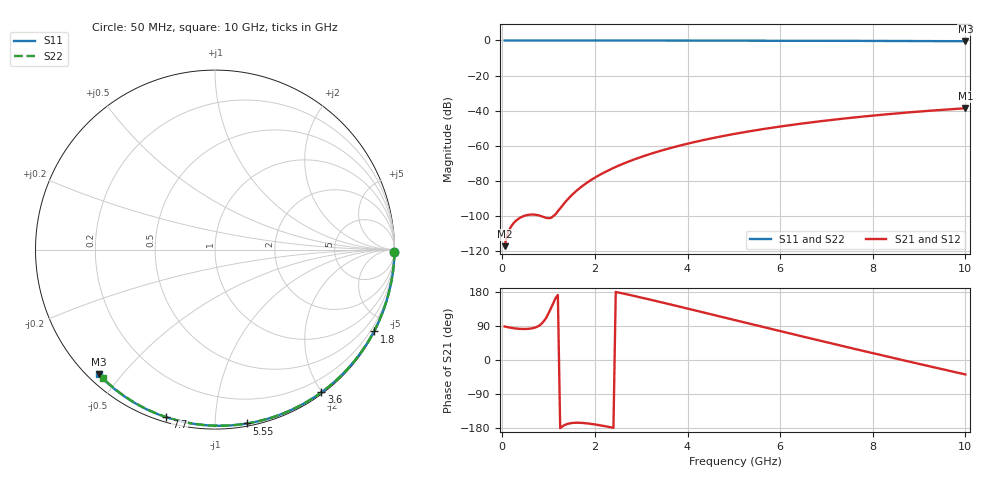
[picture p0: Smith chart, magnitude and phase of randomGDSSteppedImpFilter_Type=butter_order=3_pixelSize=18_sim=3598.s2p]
! freq	dB(S11)	phase(S11)	dB(S12)	phase(S12)
!  dB(S21)	phase(S21)	dB(S22)	phase(S22)
!S-par simulation data
#  GHz  S  DB  R 50
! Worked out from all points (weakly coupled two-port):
!   200 points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, 50 MHz to 10 GHz, reference 50 ohm
!   highest |S21| = -38.60 dB at 10 GHz (marker M1); lowest = -117.1 dB at 50 MHz (marker M2)
!   lowest |S11| = -0.4 dB at 10 GHz (marker M3), VSWR 39.20, Z = 1.52 - j21.7 ohm
!   |S11| at or under -10 dB: nowhere
!   |S22| runs from -0.4 to 0.0 dB; largest |S21 - S12| = 0
!   S11 on the Smith chart (normalised r, x): 50 MHz: open; 1.8 GHz: 0.04, -4.13; 3.6 GHz: 0.02, -1.99; 5.55 GHz: 0.02, -1.20; 7.7 GHz: 0.02, -0.75; 10 GHz: 0.03, -0.43
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0.05  -0.00 -0.8  -117.06 88.5  -117.06 88.5  -0.00 -0.8
0.9  -0.02 -13.7  -100.56 103.0  -100.56 103.0  -0.02 -13.6
1.75  -0.03 -26.5  -82.42 -166.3  -82.42 -166.3  -0.03 -26.1
1.8  -0.03 -27.2  -81.47 -166.8  -81.47 -166.8  -0.03 -26.9
1.85  -0.04 -28.0  -80.56 -167.5  -80.56 -167.5  -0.04 -27.6
1.9  -0.04 -28.7  -79.69 -168.3  -79.69 -168.3  -0.04 -28.3
2.05  -0.04 -30.9  -77.28 -171.0  -77.28 -171.0  -0.04 -30.5
2.25  -0.04 -33.9  -74.45 -175.4  -74.45 -175.4  -0.04 -33.4
2.45  -0.05 -36.8  -71.95 179.7  -71.95 179.7  -0.05 -36.3
2.65  -0.05 -39.7  -69.71 174.4  -69.71 174.4  -0.05 -39.2
3  -0.06 -44.8  -66.28 164.8  -66.28 164.8  -0.06 -44.2
3.4  -0.07 -50.4  -62.93 153.4  -62.93 153.4  -0.07 -49.8
3.6  -0.07 -53.3  -61.44 147.5  -61.44 147.5  -0.07 -52.5
4.3  -0.09 -62.9  -56.92 126.8  -56.92 126.8  -0.09 -62.1
5.05  -0.11 -73.0  -53.00 104.5  -53.00 104.5  -0.11 -72.0
5.55  -0.13 -79.5  -50.77 89.6  -50.77 89.6  -0.13 -78.5
6.1  -0.15 -86.6  -48.60 73.3  -48.60 73.3  -0.15 -85.4
6.7  -0.18 -94.1  -46.51 55.7  -46.51 55.7  -0.18 -92.9
7.7  -0.24 -106.2  -43.55 26.7  -43.55 26.7  -0.24 -104.8
8.35  -0.29 -113.9  -41.91 8.1  -41.91 8.1  -0.29 -112.4
9.15  -0.36 -123.2  -40.16 -14.5  -40.16 -14.5  -0.36 -121.6
10  -0.44 -133.0  -38.60 -38.1  -38.60 -38.1  -0.45 -131.2
